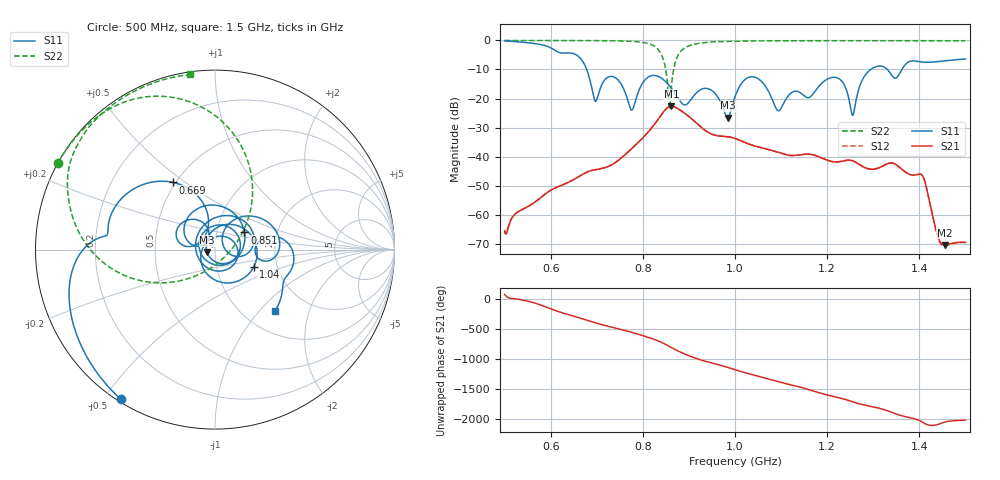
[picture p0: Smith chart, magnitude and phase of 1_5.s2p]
! TOUCHSTONE file generated by CST MICROWAVE STUDIO
! Date and time: Mon Nov 30 08:42:17 2020
! Project name: Scenario_1_Planar_Body_Tissue_Out_of_Line.cst
! Parameters = {dy1=-346; L_HA=400; Ltissue=700; MT=2.54; Rad_Dielectric=30; Rad_Lower=7.3; Rad_Upper=30; Wtissue=700; a_HA=580; a_WG=246; b_HA=500; b_WG=121; c_HA=0; c_WG=187; d_feed=85; dx1=866; h_feed=15; h_lower=18; h_upper=40; hfat=3; hgap=25; hmuscle=50; hskin=1.5}
! Header version: 2018
! Port assignment regex: !\s*Touchstone port\s*([0-9]+)\s*=\s*(CST MWS port|CST DS port)\s*([0-9]+|Zmin|Zmax)\s*\(\"(.*)\"\)(\s*mode\s*([0-9]+))?.*
! Touchstone port assignment:
! Touchstone port 1 = CST MWS port 1 ("")
! Touchstone port 2 = CST MWS port 2 ("")
# GHz S DB R 50
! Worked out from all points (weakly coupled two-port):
!   1003 points, 500 MHz to 1.5 GHz, reference 50 ohm
!   highest |S21| = -22.72 dB at 862 MHz (marker M1); lowest = -70.4 dB at 1.455 GHz (marker M2)
!   lowest |S11| = -26.6 dB at 984 MHz (marker M3), VSWR 1.10, Z = 45.8 - j1.44 ohm
!   |S11| at or under -10 dB: 678.1 MHz to 1.295 GHz (616.5 MHz wide, 62.5 % of centre); 1.331 GHz to 1.362 GHz (31.58 MHz wide, 2.35 % of centre)
!   |S22| runs from -23.6 to 0.0 dB; largest |S21 - S12| = 4.9e-05
!   S11 on the Smith chart (normalised r, x): 500 MHz: 0.01, -0.55; 669 MHz: 0.48, +0.45; 851 MHz: 1.36, +0.27; 1.04 GHz: 1.51, -0.32; 1.5 GHz: 1.37, -1.22
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0.5  -0.13 -122.1  -65.52 77.6  -65.52 77.6  -0.01 151.1
0.585  -1.66 -167.9  -53.27 -116.3  -53.27 -116.5  -0.02 145.3
0.667  -6.65 125.3  -46.29 38.3  -46.29 38.3  -0.04 138.4
0.669  -7.10 122.0  -46.11 33.6  -46.11 33.6  -0.04 138.2
0.696  -20.83 131.6  -44.54 -31.8  -44.54 -31.8  -0.06 135.3
0.735  -12.46 142.8  -42.57 -108.8  -42.57 -108.8  -0.12 130.1
0.775  -23.97 135.6  -37.38 171.1  -37.38 171.1  -0.31 121.8
0.834  -12.42 75.6  -26.96 23.4  -26.96 23.4  -3.24 84.2
0.851  -14.43 30.2  -23.52 -38.7  -23.52 -38.7  -11.43 44.9
0.862  -16.49 -2.4  -22.72 -85.7  -22.72 -85.7  -15.89 -121.8
0.887  -21.97 -108.0  -24.66 -179.3  -24.66 -179.3  -3.02 178.8
0.984  -26.62 -160.4  -33.13 -54.7  -33.13 -54.7  -0.32 142.5
1  -19.41 96.0  -33.75 -93.5  -33.75 -93.5  -0.27 140.3
1.04  -12.53 -24.7  -36.20 178.8  -36.20 178.8  -0.18 135.5
1.093  -24.17 142.8  -38.50 68.6  -38.50 68.6  -0.13 130.3
1.167  -18.89 161.8  -39.32 -81.6  -39.32 -81.6  -0.10 124.2
1.222  -12.89 16.7  -41.83 167.1  -41.83 167.1  -0.09 120.0
1.256  -25.78 27.5  -41.48 90.7  -41.48 90.7  -0.09 117.4
1.334  -10.63 -12.6  -42.29 -64.6  -42.29 -64.6  -0.09 111.5
1.407  -7.46 -21.2  -46.62 113.2  -46.67 113.2  -0.10 105.8
1.455  -7.03 -33.0  -70.44 115.1  -70.84 115.8  -0.11 101.9
1.5  -6.40 -46.0  -69.55 146.7  -69.53 146.6  -0.13 98.0
